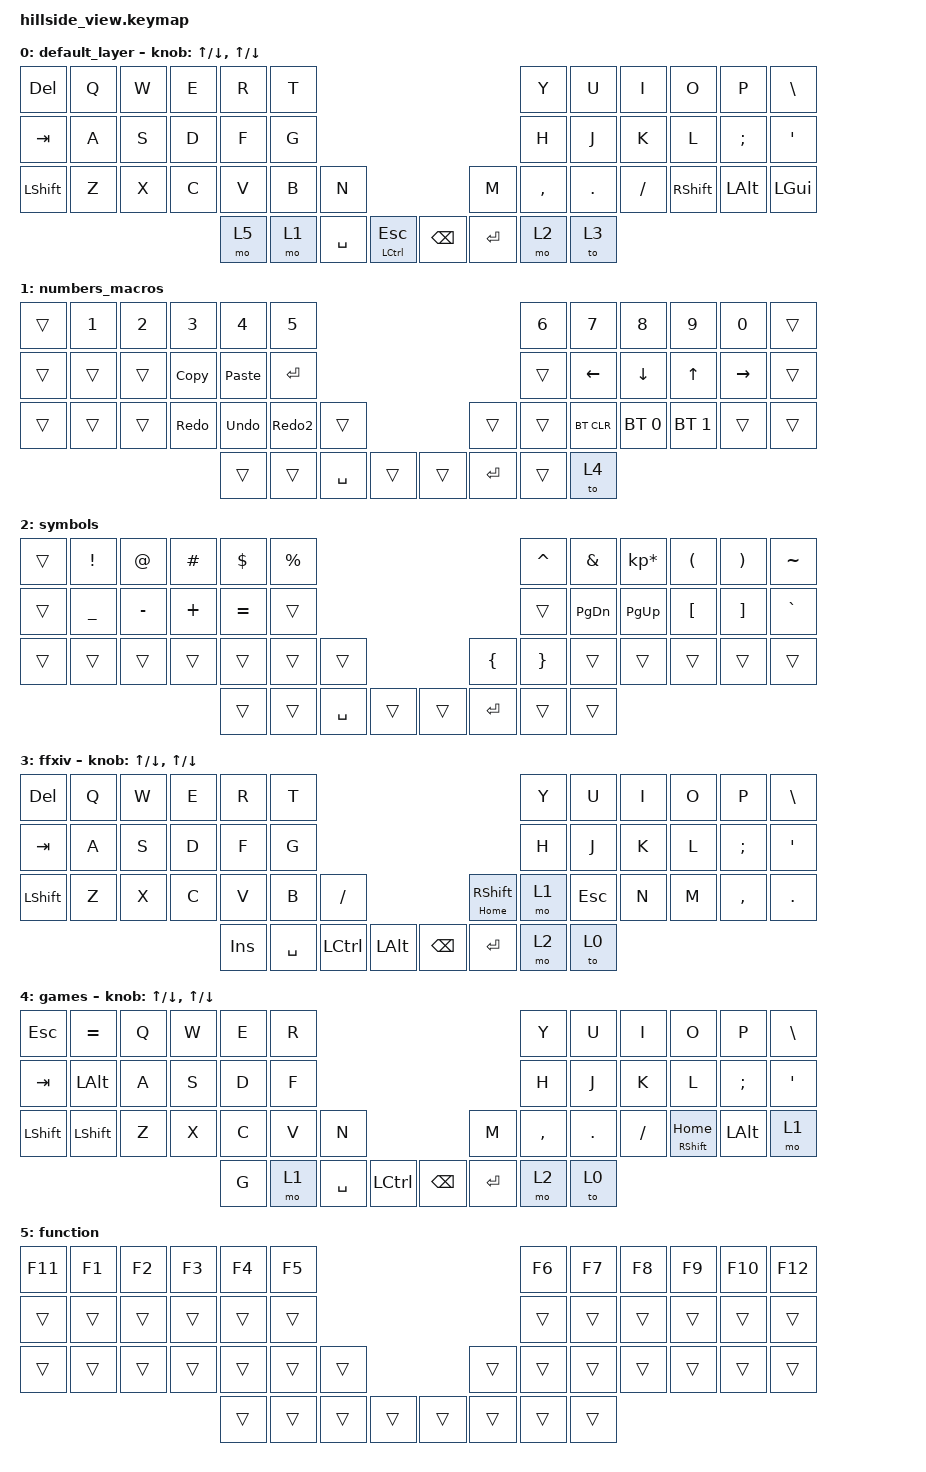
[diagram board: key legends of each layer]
/*
 * Copyright (c) 2022 The ZMK Contributors
 *
 * SPDX-License-Identifier: MIT
 */

#include <behaviors.dtsi>
#include <dt-bindings/zmk/keys.h>
#include <dt-bindings/zmk/bt.h>
#include <dt-bindings/zmk/rgb.h>
#include <dt-bindings/zmk/ext_power.h>
#include <dt-bindings/zmk/mouse.h>

#include <behaviors.dtsi>
#include <dt-bindings/zmk/bt.h>
#include <dt-bindings/zmk/keys.h>

#include <behaviors.dtsi>
#include <dt-bindings/zmk/bt.h>
#include <dt-bindings/zmk/keys.h>

#include <behaviors.dtsi>
#include <dt-bindings/zmk/bt.h>
#include <dt-bindings/zmk/keys.h>

/ {
    macros {
        Copy: Copy {
            compatible = "zmk,behavior-macro";
            #binding-cells = <0>;
            bindings =
                <&macro_press>,
                <&kp LCTRL>,
                <&macro_tap>,
                <&kp C>,
                <&macro_release>;

            label = "COPY";
        };

        Paste: Paste {
            compatible = "zmk,behavior-macro";
            #binding-cells = <0>;
            bindings =
                <&macro_press>,
                <&kp LCTRL>,
                <&macro_tap>,
                <&kp V>,
                <&macro_release>;

            label = "PASTE";
        };

        Undo: Undo {
            compatible = "zmk,behavior-macro";
            #binding-cells = <0>;
            bindings =
                <&macro_press>,
                <&kp LCTRL>,
                <&macro_tap>,
                <&kp Z>,
                <&macro_release>;

            label = "UNDO";
        };

        Redo: new_macro {
            compatible = "zmk,behavior-macro";
            #binding-cells = <0>;
            bindings =
                <&macro_press>,
                <&kp LCTRL &kp LEFT_SHIFT>,
                <&macro_tap>,
                <&kp Z>,
                <&macro_release>;

            label = "NEW_MACRO";
        };

        Redo2: Redo2 {
            compatible = "zmk,behavior-macro";
            #binding-cells = <0>;
            bindings =
                <&macro_press>,
                <&kp LCTRL>,
                <&macro_tap>,
                <&kp Y>,
                <&macro_release>;

            label = "REDO2";
        };
    };

    keymap {
        compatible = "zmk,keymap";

        default_layer {
            // ----------------------------------------------------------------------------------------------------------
            // |  TAB |  Q  |  W  |  E  |  R  |  T  |                             |  Y  |  U   |  I  |  O  |  P  | BKSP |
            // | CTRL |  A  |  S  |  D  |  F  |  G  |                             |  H  |  J   |  K  |  L  |  ;  |  '   |
            // | SHFT |  Z  |  X  |  C  |  V  |  B  |                             |  N  |  M   |  ,  |  .  |  /  | ESC  |
            //                                      |  MUTE  |                 |  PP  |
            //                          | GUI | LWR | SPC |  LSHFT  |    |  RSHFT  | ENT | RSE | ALT |

            bindings = <
&kp DELETE  &kp Q  &kp W  &kp E  &kp R  &kp T                                                      &kp Y      &kp U       &kp I      &kp O            &kp P         &kp BACKSLASH
&kp TAB     &kp A  &kp S  &kp D  &kp F  &kp G                                                      &kp H      &kp J       &kp K      &kp L            &kp SEMI      &kp SQT
&kp LSHFT   &kp Z  &kp X  &kp C  &kp V  &kp B  &kp N                                      &kp M    &kp COMMA  &kp PERIOD  &kp SLASH  &kp RIGHT_SHIFT  &kp LEFT_ALT  &kp LGUI
                                 &mo 5  &mo 1  &kp SPACE  &mt LCTRL ESC    &kp BACKSPACE  &kp RET  &mo 2      &to 3
            >;

            sensor-bindings = <&inc_dec_kp UP DOWN &inc_dec_kp UP DOWN>;
        };

        numbers_macros {
            // -----------------------------------------------------------------------------------------
            // |  TAB |   1  |  2  |  3  |  4  |  5  |                             |  6  |  7  |  8  |  9  |  0  | BKSP |
            // | BTCLR| BT1 | BT2 | BT3 | BT4 | BT5 |                             | LFT | DWN |  UP | RGT |     |      |
            // | SHFT |     |     |     |     |     |                             |     |     |     |     |     |      |
            //                                      |     |                 |     |
            //                          | GUI |     | SPC |     |     |     | ENT |     | ALT |

            bindings = <
&trans  &kp N1  &kp N2  &kp N3  &kp N4  &kp N5                                         &kp N6  &kp N7          &kp N8          &kp N9        &kp N0           &trans
&trans  &trans  &trans  &Copy   &Paste  &kp RET                                        &trans  &kp LEFT_ARROW  &kp DOWN_ARROW  &kp UP_ARROW  &kp RIGHT_ARROW  &trans
&trans  &trans  &trans  &Redo   &Undo   &Redo2   &trans                       &trans   &trans  &bt BT_CLR      &bt BT_SEL 0    &bt BT_SEL 1  &trans           &trans
                                &trans  &trans   &kp SPACE  &trans    &trans  &kp RET  &trans  &to 4
            >;
        };

        symbols {
            // -----------------------------------------------------------------------------------------
            // |  TAB |  !  |  @  |  #  |  $  |  %  |                             |  ^  |  &  |  *  |  (  |  )  | BKSP |
            // | CTRL |     |     |     |     |     |                             |  -  |  =  |  [  |  ]  |  \  |  `   |
            // | SHFT |     |     |     |     |     |                             |  _  |  +  |  {  |  }  | "|" |  ~   |
            //                                      |     |                 |     |
            //                          | GUI |     | SPC |     |     |     | ENT |     | ALT |

            bindings = <
&trans  &kp EXCL        &kp AT     &kp HASH  &kp DLLR   &kp PRCNT                                               &kp CARET        &kp AMPS       &kp KP_MULTIPLY  &kp LPAR          &kp RPAR           &kp TILDE
&trans  &kp UNDERSCORE  &kp MINUS  &kp PLUS  &kp EQUAL  &trans                                                  &trans           &kp PAGE_DOWN  &kp PAGE_UP      &kp LEFT_BRACKET  &kp RIGHT_BRACKET  &kp GRAVE
&trans  &trans          &trans     &trans    &trans     &trans     &trans                       &kp LEFT_BRACE  &kp RIGHT_BRACE  &trans         &trans           &trans            &trans             &trans
                                             &trans     &trans     &kp SPACE  &trans    &trans  &kp RET         &trans           &trans
            >;
        };

        ffxiv {
            bindings = <
&kp DELETE  &kp Q  &kp W  &kp E  &kp R       &kp T                                                                      &kp Y  &kp U       &kp I  &kp O  &kp P      &kp BACKSLASH
&kp TAB     &kp A  &kp S  &kp D  &kp F       &kp G                                                                      &kp H  &kp J       &kp K  &kp L  &kp SEMI   &kp SQT
&kp LSHFT   &kp Z  &kp X  &kp C  &kp V       &kp B      &kp SLASH                                 &mt HOME RIGHT_SHIFT  &mo 1  &kp ESCAPE  &kp N  &kp M  &kp COMMA  &kp PERIOD
                                 &kp INSERT  &kp SPACE  &kp LCTRL  &kp LEFT_ALT    &kp BACKSPACE  &kp RET               &mo 2  &to 0
            >;

            sensor-bindings = <&inc_dec_kp UP DOWN>, <&inc_dec_kp UP DOWN>;
        };

        games {
            bindings = <
&kp ESCAPE  &kp EQUAL       &kp Q  &kp W  &kp E  &kp R                                                  &kp Y      &kp U       &kp I      &kp O                 &kp P         &kp BACKSLASH
&kp TAB     &kp LEFT_ALT    &kp A  &kp S  &kp D  &kp F                                                  &kp H      &kp J       &kp K      &kp L                 &kp SEMI      &kp SQT
&kp LSHFT   &kp LEFT_SHIFT  &kp Z  &kp X  &kp C  &kp V  &kp N                                  &kp M    &kp COMMA  &kp PERIOD  &kp SLASH  &mt RIGHT_SHIFT HOME  &kp LEFT_ALT  &mo 1
                                          &kp G  &mo 1  &kp SPACE  &kp LCTRL    &kp BACKSPACE  &kp RET  &mo 2      &to 0
            >;

            sensor-bindings = <&inc_dec_kp UP DOWN>, <&inc_dec_kp UP DOWN>;
        };

        function {
            bindings = <
&kp F11  &kp F1  &kp F2  &kp F3  &kp F4  &kp F5                                    &kp F6  &kp F7  &kp F8  &kp F9  &kp F10  &kp F12
&trans   &trans  &trans  &trans  &trans  &trans                                    &trans  &trans  &trans  &trans  &trans   &trans
&trans   &trans  &trans  &trans  &trans  &trans  &trans                    &trans  &trans  &trans  &trans  &trans  &trans   &trans
                                 &trans  &trans  &trans  &trans    &trans  &trans  &trans  &trans
            >;
        };
    };
};


